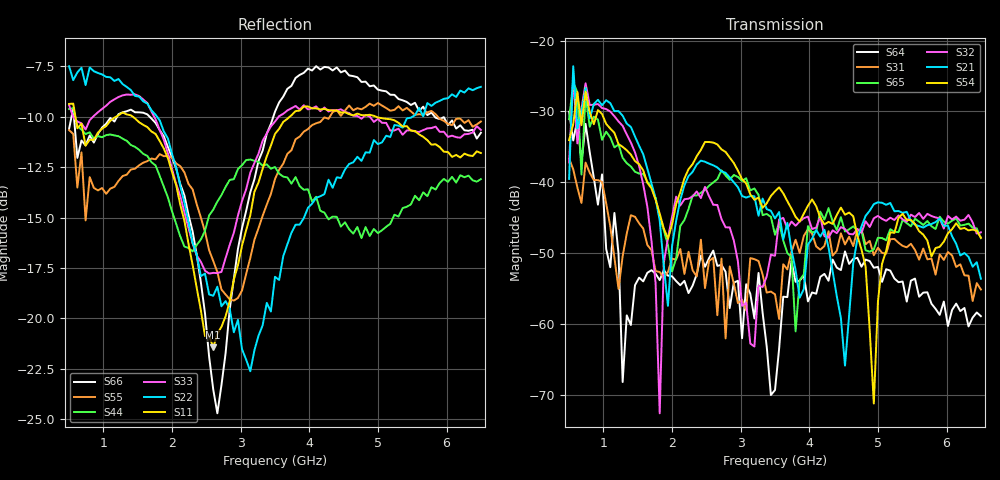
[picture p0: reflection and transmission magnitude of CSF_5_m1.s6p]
!Keysight Technologies,M9804A,MY58100912,A.14.10.03
!Date: Thursday, April 27, 2023 10:28:33
!Correction: S11(C  6-Port  )
!S12(C  6-Port  )
!S13(C  6-Port  )
!S14(C  6-Port  )
!S15(C  6-Port  )
!S16(C  6-Port  )
!S21(C  6-Port  )
!S22(C  6-Port  )
!S23(C  6-Port  )
!S24(C  6-Port  )
!S25(C  6-Port  )
!S26(C  6-Port  )
!S31(C  6-Port  )
!S32(C  6-Port  )
!S33(C  6-Port  )
!S34(C  6-Port  )
!S35(C  6-Port  )
!S36(C  6-Port  )
!S41(C  6-Port  )
!S42(C  6-Port  )
!S43(C  6-Port  )
!S44(C  6-Port  )
!S45(C  6-Port  )
!S46(C  6-Port  )
!S51(C  6-Port  )
!S52(C  6-Port  )
!S53(C  6-Port  )
!S54(C  6-Port  )
!S55(C  6-Port  )
!S56(C  6-Port  )
!S61(C  6-Port  )
!S62(C  6-Port  )
!S63(C  6-Port  )
!S64(C  6-Port  )
!S65(C  6-Port  )
!S66(C  6-Port  )
!S6P File: Measurement: :
# Hz S  RI  R 50
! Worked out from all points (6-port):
!   101 points, 500 MHz to 6.5 GHz, reference 50 ohm
!   strongest paths, dB at 500 MHz, 2 GHz, 3.5 GHz, 5 GHz, 6.5 GHz:
!     S54: -34.1, -45.9, -41.3, -56.8, -47.8
!     S21: -39.5, -49.0, -45.1, -42.8, -53.6
!     S32: -37.2, -44.9, -50.4, -44.8, -47.1
!     S65: -31.1, -52.6, -47.4, -47.8, -47.9
!     S31: -36.7, -50.8, -55.8, -49.3, -55.2
!     S64: -30.1, -53.3, -69.3, -52.0, -58.9
!   lowest |S11| = -21.4 dB at 2.6 GHz (marker M1), VSWR 1.19, Z = 42.5 + j2.26 ohm
!   |S11| at or under -10 dB: 592 MHz to 1.183 GHz (591.4 MHz wide, 66.6 % of centre); 1.428 GHz to 3.715 GHz (2.287 GHz wide, 88.9 % of centre); 4.975 GHz to end of sweep
